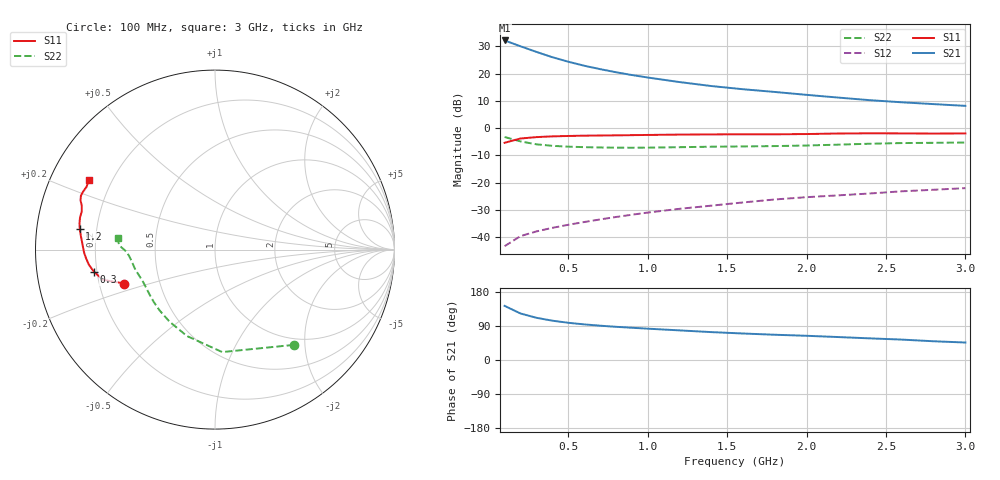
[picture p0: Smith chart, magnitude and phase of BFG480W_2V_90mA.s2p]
! Filename: 290BFG480.001
! Title: BFG480W
! Bias: Vce=2V; Ic=90mA
! Company: Philips Semiconductors NL
! User: Quality&Reliability T&D
! Measure time: 10 Nov 1999 / 11:54:49
#  MHz  S  MA  R 50
! Freq  S11  S21  S12  S22  :
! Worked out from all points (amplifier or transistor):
!   20 points, 100 MHz to 3 GHz, reference 50 ohm
!   highest |S21| = 32.2 dB at 100 MHz (marker M1)
!   |S21| within 3 dB of that: start of sweep to 242.1 MHz
!   unconditionally stable (mu >= 1): 652.4 MHz to end of sweep
!   at 400 MHz: K = 0.85, MSG = 31.3 dB, |S12| = -36.5 dB
!   at 1.2 GHz: K = 1.10, MAG = 21.3 dB, |S12| = -29.6 dB
!   at 3 GHz: K = 1.10, MAG = 13.1 dB, |S12| = -22.0 dB
!   S11 on the Smith chart (normalised r, x): 100 MHz: 0.31, -0.16; 300 MHz: 0.19, -0.09; 1.2 GHz: 0.14, +0.07; 3 GHz: 0.12, +0.25
100  0.54 -159.5  40.55 142.8  0.006871 67.0  0.6888 -50.4
200  0.6463 -164.9  31.71 122.8  0.01051 58.4  0.5723 -86.0
300  0.6856 -169.6  25.04 111.4  0.01281 57.5  0.5062 -108.0
400  0.7079 -173.2  20.01 103.8  0.01489 59.5  0.4747 -122.3
500  0.7195 -176.0  16.54 98.3  0.01692 61.7  0.4585 -132.2
600  0.7285 -178.4  13.98 94.0  0.01901 63.6  0.449 -139.4
700  0.734 179.6  12.1 90.6  0.02122 65.4  0.4429 -144.8
800  0.7392 177.6  10.62 87.6  0.02353 67.3  0.4393 -149.3
900  0.745 175.8  9.436 85.1  0.02588 68.8  0.4384 -153.1
1000  0.7514 174.2  8.494 82.7  0.02836 69.8  0.4398 -156.5
1200  0.7624 171.3  7.008 78.2  0.03322 71.3  0.4479 -161.8
1400  0.7691 169.0  5.925 73.6  0.03798 72.1  0.4575 -165.8
1600  0.773 166.6  5.175 69.9  0.0435 72.7  0.4627 -169.0
1800  0.7721 164.0  4.612 66.6  0.04933 73.2  0.4696 -172.4
2000  0.7806 161.9  4.082 63.9  0.05434 73.6  0.4811 -176.1
2200  0.7983 159.8  3.638 60.5  0.05869 73.5  0.4987 -179.2
2400  0.8053 158.0  3.258 57.1  0.06352 72.9  0.519 178.8
2600  0.8026 156.3  2.982 53.9  0.06965 72.2  0.5334 177.5
2800  0.7966 153.9  2.762 49.5  0.07433 70.7  0.5393 175.7
3000  0.8016 151.3  2.565 46.1  0.07959 69.9  0.5458 173.0
